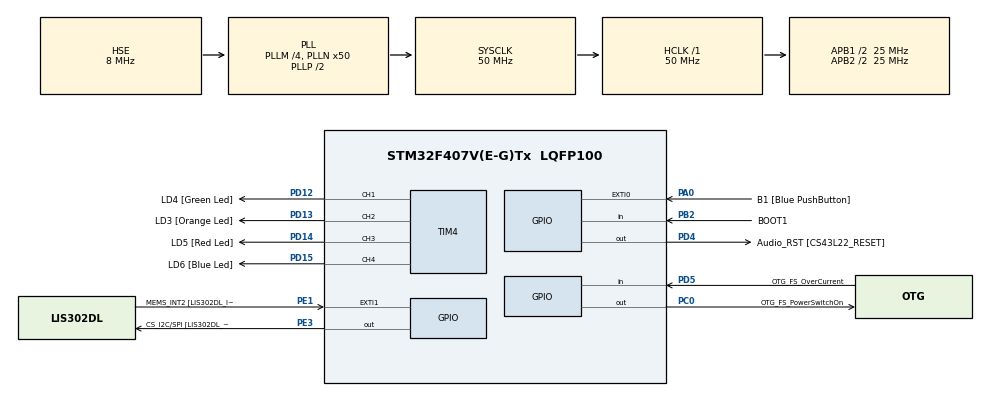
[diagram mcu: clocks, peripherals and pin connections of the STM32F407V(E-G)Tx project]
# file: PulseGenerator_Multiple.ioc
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Mcu.Family=STM32F4
Mcu.Name=STM32F407V(E-G)Tx
Mcu.Package=LQFP100
NVIC.PriorityGroup=NVIC_PRIORITYGROUP_0
NVIC.TIM4_IRQn=true\:0\:0\:false\:false\:true\:true\:true\:true
PA0-WKUP.GPIO_Label=B1 [Blue PushButton]
PA0-WKUP.GPIO_ModeDefaultEXTI=GPIO_MODE_EVT_RISING
PA0-WKUP.GPIO_PuPd=GPIO_NOPULL
PA0-WKUP.Signal=GPXTI0
PA13.GPIO_Label=SWDIO
PA13.Mode=Serial_Wire
PA13.Signal=SYS_JTMS-SWDIO
PA14.GPIO_Label=SWCLK
PA14.Mode=Serial_Wire
PA14.Signal=SYS_JTCK-SWCLK
PB2.GPIO_Label=BOOT1
PB2.GPIO_Mode=GPIO_MODE_INPUT
PB2.GPIO_PuPd=GPIO_NOPULL
PB2.Signal=GPIO_Input
PC0.GPIO_Label=OTG_FS_PowerSwitchOn
PC0.GPIO_PuPd=GPIO_NOPULL
PC0.GPIO_Speed=GPIO_SPEED_FREQ_LOW
PC0.PinState=GPIO_PIN_SET
PC0.Signal=GPIO_Output
PD12.GPIO_Label=LD4 [Green Led]
PD12.Signal=S_TIM4_CH1
PD13.GPIO_Label=LD3 [Orange Led]
PD13.Signal=S_TIM4_CH2
PD14.GPIO_Label=LD5 [Red Led]
PD14.Signal=S_TIM4_CH3
PD15.GPIO_Label=LD6 [Blue Led]
PD15.Signal=S_TIM4_CH4
PD4.GPIO_Label=Audio_RST [CS43L22_RESET]
PD4.GPIO_PuPd=GPIO_NOPULL
PD4.GPIO_Speed=GPIO_SPEED_FREQ_LOW
PD4.Signal=GPIO_Output
PD5.GPIO_Label=OTG_FS_OverCurrent
PD5.GPIO_Mode=GPIO_MODE_INPUT
PD5.GPIO_PuPd=GPIO_NOPULL
PD5.Signal=GPIO_Input
PE1.GPIO_Label=MEMS_INT2 [LIS302DL_INT2]
PE1.GPIO_ModeDefaultEXTI=GPIO_MODE_EVT_RISING
PE1.GPIO_PuPd=GPIO_NOPULL
PE1.Signal=GPXTI1
PE3.GPIO_Label=CS_I2C/SPI [LIS302DL_CS_I2C/SPI]
PE3.GPIO_PuPd=GPIO_NOPULL
PE3.GPIO_Speed=GPIO_SPEED_FREQ_LOW
PE3.Signal=GPIO_Output
PH0-OSC_IN.GPIO_Label=PH0-OSC_IN
PH0-OSC_IN.Mode=HSE-External-Oscillator
PH0-OSC_IN.Signal=RCC_OSC_IN
PH1-OSC_OUT.GPIO_Label=PH1-OSC_OUT
PH1-OSC_OUT.Mode=HSE-External-Oscillator
PH1-OSC_OUT.Signal=RCC_OSC_OUT
ProjectManager.HeapSize=0x200
ProjectManager.StackSize=0x400
ProjectManager.TargetToolchain=STM32CubeIDE
RCC.48MHZClocksFreq_Value=14285714.285714285
RCC.AHBFreq_Value=50000000
RCC.APB1CLKDivider=RCC_HCLK_DIV2
RCC.APB1Freq_Value=25000000
RCC.APB1TimFreq_Value=50000000
RCC.APB2CLKDivider=RCC_HCLK_DIV2
RCC.APB2Freq_Value=25000000
RCC.APB2TimFreq_Value=50000000
RCC.CortexFreq_Value=50000000
RCC.HCLKFreq_Value=50000000
RCC.HSE_VALUE=8000000
RCC.HSI_VALUE=16000000
RCC.LSE_VALUE=32768
RCC.PLLM=4
RCC.PLLN=50
RCC.PLLQ=7
RCC.PLLSourceVirtual=RCC_PLLSOURCE_HSE
RCC.SYSCLKFreq_VALUE=50000000
RCC.SYSCLKSource=RCC_SYSCLKSOURCE_PLLCLK
RCC.VCOOutputFreq_Value=100000000
SH.S_TIM4_CH1.0=TIM4_CH1,Output Compare1 CH1
SH.S_TIM4_CH2.0=TIM4_CH2,Output Compare2 CH2
SH.S_TIM4_CH3.0=TIM4_CH3,Output Compare3 CH3
SH.S_TIM4_CH4.0=TIM4_CH4,Output Compare4 CH4
TIM4.Channel-Output\ Compare1\ CH1=TIM_CHANNEL_1
TIM4.Channel-Output\ Compare2\ CH2=TIM_CHANNEL_2
TIM4.Channel-Output\ Compare3\ CH3=TIM_CHANNEL_3
TIM4.Channel-Output\ Compare4\ CH4=TIM_CHANNEL_4
TIM4.OCMode_1=TIM_OCMODE_TOGGLE
TIM4.OCMode_2=TIM_OCMODE_TOGGLE
TIM4.OCMode_3=TIM_OCMODE_TOGGLE
TIM4.OCMode_4=TIM_OCMODE_TOGGLE
board=STM32F407G-DISC1

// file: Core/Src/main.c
/* USER CODE BEGIN Header */
/**
  ******************************************************************************
  * @file           : main.c
  * @brief          : Main program body
  ******************************************************************************
  * @attention
  *
  * Copyright (c) 2025 STMicroelectronics.
  * All rights reserved.
  *
  * This software is licensed under terms that can be found in the LICENSE file
  * in the root directory of this software component.
  * If no LICENSE file comes with this software, it is provided AS-IS.
  *
  ******************************************************************************
  */
/* USER CODE END Header */
#include "main.h"

/* USER CODE BEGIN Includes */
#include "pulse_gen.h"

/* USER CODE END Includes */

TIM_HandleTypeDef htim4;

/* USER CODE BEGIN PV */
PulseGen_HandleTypeDef hPulseGen1 = {0};
PulseGen_HandleTypeDef hPulseGen2 = {0};
PulseGen_HandleTypeDef hPulseGen3 = {0};
PulseGen_HandleTypeDef hPulseGen4 = {0};
PulseGen_HandleTypeDef *PulseGens[4] = { &hPulseGen1, &hPulseGen2, &hPulseGen3, &hPulseGen4 };

/* USER CODE END PV */

void SystemClock_Config(void);
static void MX_GPIO_Init(void);
static void MX_TIM4_Init(void);
/* USER CODE BEGIN PFP */
static void APP_PulseGen_Init(void);

/* USER CODE END PFP */

int main(void)
{

  /* MCU Configuration--------------------------------------------------------*/

  /* Reset of all peripherals, Initializes the Flash interface and the Systick. */
  HAL_Init();

  /* Configure the system clock */
  SystemClock_Config();

  /* Initialize all configured peripherals */
  MX_GPIO_Init();
  MX_TIM4_Init();
  /* USER CODE BEGIN 2 */

  /* Initialize the Pulse Generator application */
  APP_PulseGen_Init();

  /* Configure the pulse frequency of each generator */
  PulseGen_SetPulseFreq(&hPulseGen1, 5);
  PulseGen_SetPulseFreq(&hPulseGen2, 15);
  PulseGen_SetPulseFreq(&hPulseGen3, 1);
  PulseGen_SetPulseFreq(&hPulseGen4, 3);

  /* Start two generators in finite pulse mode and two in continuous mode */
  PulseGen_GeneratePulses(&hPulseGen1, 10);   // Generate 10 pulses at 5 Hz
  PulseGen_GeneratePulses(&hPulseGen2, 30);   // Generate 30 pulses at 15 Hz
  PulseGen_Start(&hPulseGen3);                // Continuous mode at 1 Hz
  PulseGen_Start(&hPulseGen4);                // Continuous mode at 3 Hz

  /* Keep continuous generation active for 10 seconds, then stop */
  HAL_Delay(10000);
  PulseGen_Stop(&hPulseGen3);
  PulseGen_Stop(&hPulseGen4);

  /* USER CODE END 2 */

  /* Infinite loop */
  while (1)
  {

  }
}

void SystemClock_Config(void)
{
  RCC_OscInitTypeDef RCC_OscInitStruct = {0};
  RCC_ClkInitTypeDef RCC_ClkInitStruct = {0};

  /** Configure the main internal regulator output voltage
  */
  __HAL_RCC_PWR_CLK_ENABLE();
  __HAL_PWR_VOLTAGESCALING_CONFIG(PWR_REGULATOR_VOLTAGE_SCALE1);

  /** Initializes the RCC Oscillators according to the specified parameters
  * in the RCC_OscInitTypeDef structure.
  */
  RCC_OscInitStruct.OscillatorType = RCC_OSCILLATORTYPE_HSE;
  RCC_OscInitStruct.HSEState = RCC_HSE_ON;
  RCC_OscInitStruct.PLL.PLLState = RCC_PLL_ON;
  RCC_OscInitStruct.PLL.PLLSource = RCC_PLLSOURCE_HSE;
  RCC_OscInitStruct.PLL.PLLM = 4;
  RCC_OscInitStruct.PLL.PLLN = 50;
  RCC_OscInitStruct.PLL.PLLP = RCC_PLLP_DIV2;
  RCC_OscInitStruct.PLL.PLLQ = 7;
  if (HAL_RCC_OscConfig(&RCC_OscInitStruct) != HAL_OK)
  {
    Error_Handler();
  }

  /** Initializes the CPU, AHB and APB buses clocks
  */
  RCC_ClkInitStruct.ClockType = RCC_CLOCKTYPE_HCLK|RCC_CLOCKTYPE_SYSCLK
                              |RCC_CLOCKTYPE_PCLK1|RCC_CLOCKTYPE_PCLK2;
  RCC_ClkInitStruct.SYSCLKSource = RCC_SYSCLKSOURCE_PLLCLK;
  RCC_ClkInitStruct.AHBCLKDivider = RCC_SYSCLK_DIV1;
  RCC_ClkInitStruct.APB1CLKDivider = RCC_HCLK_DIV2;
  RCC_ClkInitStruct.APB2CLKDivider = RCC_HCLK_DIV2;

  if (HAL_RCC_ClockConfig(&RCC_ClkInitStruct, FLASH_LATENCY_1) != HAL_OK)
  {
    Error_Handler();
  }
}

static void MX_TIM4_Init(void)
{

  TIM_MasterConfigTypeDef sMasterConfig = {0};
  TIM_OC_InitTypeDef sConfigOC = {0};

  htim4.Instance = TIM4;
  htim4.Init.Prescaler = 0;
  htim4.Init.CounterMode = TIM_COUNTERMODE_UP;
  htim4.Init.Period = 65535;
  htim4.Init.ClockDivision = TIM_CLOCKDIVISION_DIV1;
  htim4.Init.AutoReloadPreload = TIM_AUTORELOAD_PRELOAD_DISABLE;
  if (HAL_TIM_OC_Init(&htim4) != HAL_OK)
  {
    Error_Handler();
  }
  sMasterConfig.MasterOutputTrigger = TIM_TRGO_RESET;
  sMasterConfig.MasterSlaveMode = TIM_MASTERSLAVEMODE_DISABLE;
  if (HAL_TIMEx_MasterConfigSynchronization(&htim4, &sMasterConfig) != HAL_OK)
  {
    Error_Handler();
  }
  sConfigOC.OCMode = TIM_OCMODE_TOGGLE;
  sConfigOC.Pulse = 0;
  sConfigOC.OCPolarity = TIM_OCPOLARITY_HIGH;
  sConfigOC.OCFastMode = TIM_OCFAST_DISABLE;
  if (HAL_TIM_OC_ConfigChannel(&htim4, &sConfigOC, TIM_CHANNEL_1) != HAL_OK)
  {
    Error_Handler();
  }
  if (HAL_TIM_OC_ConfigChannel(&htim4, &sConfigOC, TIM_CHANNEL_2) != HAL_OK)
  {
    Error_Handler();
  }
  if (HAL_TIM_OC_ConfigChannel(&htim4, &sConfigOC, TIM_CHANNEL_3) != HAL_OK)
  {
    Error_Handler();
  }
  if (HAL_TIM_OC_ConfigChannel(&htim4, &sConfigOC, TIM_CHANNEL_4) != HAL_OK)
  {
    Error_Handler();
  }
  HAL_TIM_MspPostInit(&htim4);

}

static void MX_GPIO_Init(void)
{
  GPIO_InitTypeDef GPIO_InitStruct = {0};

  /* GPIO Ports Clock Enable */
  __HAL_RCC_GPIOE_CLK_ENABLE();
  __HAL_RCC_GPIOH_CLK_ENABLE();
  __HAL_RCC_GPIOC_CLK_ENABLE();
  __HAL_RCC_GPIOA_CLK_ENABLE();
  __HAL_RCC_GPIOB_CLK_ENABLE();
  __HAL_RCC_GPIOD_CLK_ENABLE();

  /*Configure GPIO pin Output Level */
  HAL_GPIO_WritePin(CS_I2C_SPI_GPIO_Port, CS_I2C_SPI_Pin, GPIO_PIN_RESET);

  /*Configure GPIO pin Output Level */
  HAL_GPIO_WritePin(OTG_FS_PowerSwitchOn_GPIO_Port, OTG_FS_PowerSwitchOn_Pin, GPIO_PIN_SET);

  /*Configure GPIO pin Output Level */
  HAL_GPIO_WritePin(Audio_RST_GPIO_Port, Audio_RST_Pin, GPIO_PIN_RESET);

  /*Configure GPIO pin : CS_I2C_SPI_Pin */
  GPIO_InitStruct.Pin = CS_I2C_SPI_Pin;
  GPIO_InitStruct.Mode = GPIO_MODE_OUTPUT_PP;
  GPIO_InitStruct.Pull = GPIO_NOPULL;
  GPIO_InitStruct.Speed = GPIO_SPEED_FREQ_LOW;
  HAL_GPIO_Init(CS_I2C_SPI_GPIO_Port, &GPIO_InitStruct);

  /*Configure GPIO pin : OTG_FS_PowerSwitchOn_Pin */
  GPIO_InitStruct.Pin = OTG_FS_PowerSwitchOn_Pin;
  GPIO_InitStruct.Mode = GPIO_MODE_OUTPUT_PP;
  GPIO_InitStruct.Pull = GPIO_NOPULL;
  GPIO_InitStruct.Speed = GPIO_SPEED_FREQ_LOW;
  HAL_GPIO_Init(OTG_FS_PowerSwitchOn_GPIO_Port, &GPIO_InitStruct);

  /*Configure GPIO pin : B1_Pin */
  GPIO_InitStruct.Pin = B1_Pin;
  GPIO_InitStruct.Mode = GPIO_MODE_EVT_RISING;
  GPIO_InitStruct.Pull = GPIO_NOPULL;
  HAL_GPIO_Init(B1_GPIO_Port, &GPIO_InitStruct);

  /*Configure GPIO pin : BOOT1_Pin */
  GPIO_InitStruct.Pin = BOOT1_Pin;
  GPIO_InitStruct.Mode = GPIO_MODE_INPUT;
  GPIO_InitStruct.Pull = GPIO_NOPULL;
  HAL_GPIO_Init(BOOT1_GPIO_Port, &GPIO_InitStruct);

  /*Configure GPIO pin : Audio_RST_Pin */
  GPIO_InitStruct.Pin = Audio_RST_Pin;
  GPIO_InitStruct.Mode = GPIO_MODE_OUTPUT_PP;
  GPIO_InitStruct.Pull = GPIO_NOPULL;
  GPIO_InitStruct.Speed = GPIO_SPEED_FREQ_LOW;
  HAL_GPIO_Init(Audio_RST_GPIO_Port, &GPIO_InitStruct);

  /*Configure GPIO pin : OTG_FS_OverCurrent_Pin */
  GPIO_InitStruct.Pin = OTG_FS_OverCurrent_Pin;
  GPIO_InitStruct.Mode = GPIO_MODE_INPUT;
  GPIO_InitStruct.Pull = GPIO_NOPULL;
  HAL_GPIO_Init(OTG_FS_OverCurrent_GPIO_Port, &GPIO_InitStruct);

  /*Configure GPIO pin : MEMS_INT2_Pin */
  GPIO_InitStruct.Pin = MEMS_INT2_Pin;
  GPIO_InitStruct.Mode = GPIO_MODE_EVT_RISING;
  GPIO_InitStruct.Pull = GPIO_NOPULL;
  HAL_GPIO_Init(MEMS_INT2_GPIO_Port, &GPIO_InitStruct);

}

/* USER CODE BEGIN 4 */
static void APP_PulseGen_Init(void){
	PulseGen_InitTypeDef init = {
			.MaxPulseFreq = 20,
			.MinDeltaCCR = 200
	};

	hPulseGen1.htim = &htim4;
	hPulseGen1.TimChannel = TIM_CHANNEL_1;
	hPulseGen1.Init = init;
	PulseGen_Init(&hPulseGen1);

	if(PulseGen_Init(&hPulseGen1) == PULSEGEN_ERROR){
		Error_Handler();
	}

	hPulseGen2.htim = &htim4;
	hPulseGen2.TimChannel = TIM_CHANNEL_2;
	hPulseGen2.Init = init;
	PulseGen_Init(&hPulseGen2);

	if(PulseGen_Init(&hPulseGen2) == PULSEGEN_ERROR){
		Error_Handler();
	}

	hPulseGen3.htim = &htim4;
	hPulseGen3.TimChannel = TIM_CHANNEL_3;
	hPulseGen3.Init = init;
	PulseGen_Init(&hPulseGen3);

	if(PulseGen_Init(&hPulseGen3) == PULSEGEN_ERROR){
		Error_Handler();
	}

	hPulseGen4.htim = &htim4;
	hPulseGen4.TimChannel = TIM_CHANNEL_4;
	hPulseGen4.Init = init;
	PulseGen_Init(&hPulseGen4);

	if(PulseGen_Init(&hPulseGen4) == PULSEGEN_ERROR){
		Error_Handler();
	}
}
/* USER CODE END 4 */

void Error_Handler(void)
{
  __disable_irq();
  while (1)
  {
  }
}
